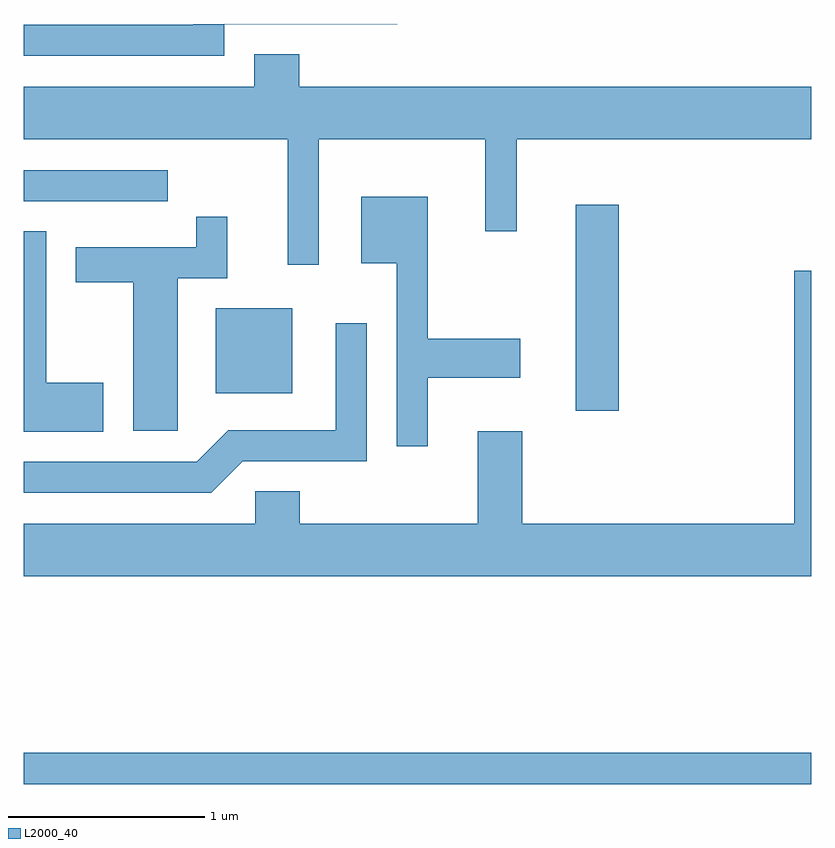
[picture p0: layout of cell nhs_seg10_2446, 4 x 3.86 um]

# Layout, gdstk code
import gdstk
lib = gdstk.Library(unit=1e-6, precision=1e-09)
def R(c, l, rs):  # rectangles x0, y0, x1, y1
    for r in rs: c.add(gdstk.rectangle(r[:2], r[2:], *l))
def P(c, l, *ps):  # polygons
    for p in ps: c.add(gdstk.Polygon(p, *l))
L2000_40 = (2000, 40)

nhs_seg10_2446 = lib.new_cell('nhs_seg10_2446')
R(nhs_seg10_2446, L2000_40, [(257.611,2090.661,261.611,2090.819), (260.416,2092.556,260.634,2093.604), (258.586,2092.646,258.974,2093.079), (257.611,2093.621,258.343,2093.779)])
P(nhs_seg10_2446, L2000_40, [(258.629,2094.521),(259.508,2094.521),(259.508,2094.522),(258.471,2094.522),(258.471,2094.519),(257.611,2094.519),(257.611,2094.361),(258.629,2094.361)],
  [(259.109,2093.936),(259.956,2093.936),(259.956,2093.468),(260.114,2093.468),(260.114,2093.936),(261.611,2093.936),(261.611,2094.204),(259.009,2094.204),(259.009,2094.369),(258.781,2094.369),(258.781,2094.204),(257.611,2094.204),(257.611,2093.936),(258.951,2093.936),(258.951,2093.298),(259.109,2093.298)],
  [(259.664,2092.726),(260.134,2092.726),(260.134,2092.924),(259.664,2092.924),(259.664,2093.644),(259.326,2093.644),(259.326,2093.306),(259.506,2093.306),(259.506,2092.378),(259.664,2092.378)],
  [(258.394,2093.231),(258.644,2093.231),(258.644,2093.543),(258.486,2093.543),(258.486,2093.389),(257.876,2093.389),(257.876,2093.211),(258.166,2093.211),(258.166,2092.456),(258.394,2092.456)],
  [(258.014,2092.699),(257.724,2092.699),(257.724,2093.469),(257.611,2093.469),(257.611,2092.451),(258.014,2092.451)],
  [(261.611,2093.269),(261.526,2093.269),(261.526,2091.984),(260.144,2091.984),(260.144,2092.454),(259.916,2092.454),(259.916,2091.984),(259.014,2091.984),(259.014,2092.149),(258.786,2092.149),(258.786,2091.984),(257.611,2091.984),(257.611,2091.716),(261.611,2091.716)],
  [(258.722,2092.301),(259.354,2092.301),(259.354,2093.003),(259.196,2093.003),(259.196,2092.459),(258.649,2092.459),(258.489,2092.299),(257.611,2092.299),(257.611,2092.141),(258.562,2092.141)])

lib.write_gds('nhs_seg10_2446.gds')
